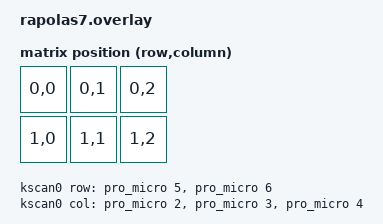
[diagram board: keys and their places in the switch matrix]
#include <dt-bindings/zmk/matrix_transform.h>

/ {
    chosen {
        zmk,kscan = &kscan0;
        zmk,matrix-transform = &default_transform;
    };

    kscan0: kscan_0 {
        compatible = "zmk,kscan-gpio-matrix";
        label = "KSCAN";
        diode-direction = "col2row"; /* Change to "row2col" if your diodes face column-to-row */

        col-gpios
            = <&pro_micro 2 GPIO_ACTIVE_HIGH>
            , <&pro_micro 3 GPIO_ACTIVE_HIGH>
            , <&pro_micro 4 GPIO_ACTIVE_HIGH>
            ;

        row-gpios
            = <&pro_micro 5 (GPIO_ACTIVE_HIGH | GPIO_PULL_DOWN)>
            , <&pro_micro 6 (GPIO_ACTIVE_HIGH | GPIO_PULL_DOWN)>
            ;
    };

    default_transform: keymap_transform_0 {
        compatible = "zmk,matrix-transform";
        columns = <3>; /* Total column count */
        rows = <2>;    /* Total row count */

        /* RC(row, col) mapping matrix */
        map = <
            RC(0,0) RC(0,1) RC(0,2)
            RC(1,0) RC(1,1) RC(1,2)
        >;
    };
};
